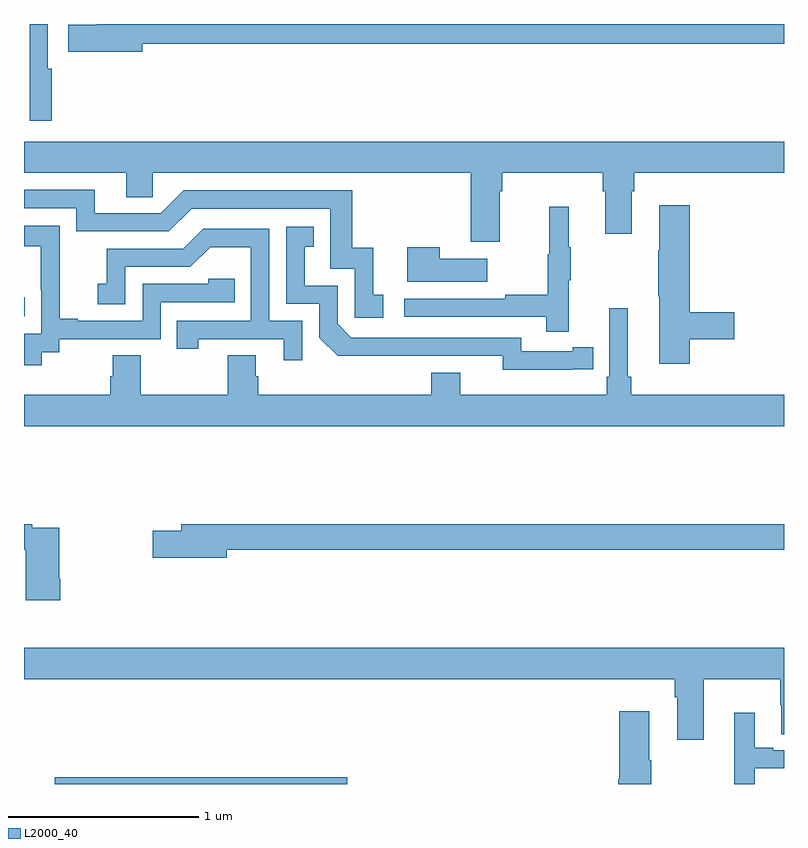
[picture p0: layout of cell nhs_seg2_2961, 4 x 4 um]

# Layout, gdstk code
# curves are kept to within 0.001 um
import gdstk
lib = gdstk.Library(unit=1e-6, precision=1e-09)
def R(c, l, rs):  # rectangles x0, y0, x1, y1
    for r in rs: c.add(gdstk.rectangle(r[:2], r[2:], *l))
def P(c, l, *ps):  # polygons
    for p in ps: c.add(gdstk.Polygon(p, *l))
L2000_40 = (2000, 40)

nhs_seg2_2961 = lib.new_cell('nhs_seg2_2961')
R(nhs_seg2_2961, L2000_40, [(267.161,597.8,268.702,597.836), (267,600.261,267.005,600.362)])
P(nhs_seg2_2961, L2000_40, [(267.146,601.565),(267.126,601.565),(267.126,601.8),(267.03,601.8),(267.03,601.29),(267.146,601.29)],
  [(267.622,601.696),(271,601.696),(271,601.8),(267.383,601.8),(267.383,601.796),(267.234,601.796),(267.234,601.654),(267.622,601.654)],
  [(269.503,600.92),(269.516,600.92),(269.516,601.016),(270.047,601.016),(270.047,600.92),(270.059,600.92),(270.059,600.696),(270.199,600.696),(270.199,600.92),(270.212,600.92),(270.212,601.016),(271,601.016),(271,601.18),(267,601.18),(267,601.016),(267.539,601.016),(267.539,600.889),(267.678,600.889),(267.678,601.016),(269.351,601.016),(269.351,600.654),(269.503,600.654)],
  [(268.891,600.375),(268.838,600.375),(268.838,600.622),(268.727,600.622),(268.727,600.924),(267.84,600.924),(267.72,600.804),(267.373,600.804),(267.373,600.927),(267,600.927),(267,600.831),(267.276,600.831),(267.276,600.708),(267.762,600.708),(267.882,600.828),(268.611,600.828),(268.611,600.513),(268.74,600.513),(268.74,600.255),(268.891,600.255)],
  [(270.503,600.142),(270.739,600.142),(270.739,600.284),(270.503,600.284),(270.503,600.847),(270.344,600.847),(270.344,600.608),(270.337,600.608),(270.337,600.367),(270.344,600.367),(270.344,600.012),(270.503,600.012)],
  [(269.867,600.451),(269.878,600.451),(269.878,600.625),(269.867,600.625),(269.867,600.838),(269.764,600.838),(269.764,600.588),(269.757,600.588),(269.757,600.374),(269.533,600.374),(269.533,600.354),(269.001,600.354),(269.001,600.258),(269.749,600.258),(269.749,600.18),(269.867,600.18)],
  [(267.094,600.073),(267.186,600.073),(267.186,600.141),(267.72,600.141),(267.72,600.336),(268.109,600.336),(268.109,600.459),(267.969,600.459),(267.969,600.432),(267.624,600.432),(267.624,600.237),(267.283,600.237),(267.283,600.25),(267.188,600.25),(267.188,600.533),(267.189,600.533),(267.189,600.739),(267,600.739),(267,600.629),(267.089,600.629),(267.089,600.401),(267.09,600.401),(267.09,600.171),(267,600.171),(267,600.003),(267.094,600.003)],
  [(269.888,599.982),(269.996,599.982),(269.996,600.098),(269.888,600.098),(269.888,600.078),(269.616,600.078),(269.616,600.15),(268.722,600.15),(268.65,600.222),(268.65,600.423),(268.477,600.423),(268.477,600.627),(268.526,600.627),(268.526,600.733),(268.38,600.733),(268.38,600.327),(268.554,600.327),(268.554,600.15),(268.652,600.053),(269.52,600.054),(269.52,599.981)],
  [(268.464,600.237),(268.29,600.237),(268.29,600.723),(267.944,600.723),(267.839,600.618),(267.436,600.618),(267.436,600.433),(267.387,600.433),(267.387,600.324),(267.534,600.324),(267.534,600.522),(267.876,600.522),(267.98,600.626),(268.194,600.626),(268.194,600.237),(267.805,600.237),(267.805,600.09),(267.916,600.09),(267.916,600.141),(268.367,600.141),(268.367,600.03),(268.464,600.03)],
  [(269.437,600.565),(269.189,600.565),(269.189,600.625),(269.018,600.625),(269.018,600.443),(269.437,600.443)],
  [(271,599.848),(270.197,599.848),(270.197,599.944),(270.178,599.944),(270.178,600.304),(270.081,600.304),(270.081,599.944),(270.068,599.944),(270.068,599.848),(269.296,599.848),(269.296,599.965),(269.144,599.965),(269.144,599.848),(268.232,599.848),(268.232,599.946),(268.219,599.946),(268.219,600.056),(268.072,600.056),(268.072,599.848),(267.615,599.848),(267.615,600.056),(267.467,600.056),(267.467,599.946),(267.455,599.946),(267.455,599.848),(267,599.848),(267,599.684),(271,599.684)],
  [(267.191,598.879),(267.186,598.879),(267.186,599.148),(267.044,599.148),(267.044,599.168),(267,599.168),(267,599.032),(267.008,599.032),(267.008,598.767),(267.191,598.767)],
  [(268.066,599.032),(271,599.032),(271,599.168),(267.827,599.168),(267.827,599.132),(267.678,599.132),(267.678,598.99),(268.066,598.99)],
  [(270.577,598.352),(270.979,598.352),(270.979,598.214),(270.986,598.214),(270.986,598.063),(271,598.063),(271,598.516),(267,598.516),(267,598.352),(270.425,598.352),(270.425,598.256),(270.437,598.256),(270.437,598.032),(270.577,598.032)],
  [(270.3,597.925),(270.292,597.925),(270.292,598.183),(270.134,598.183),(270.134,597.825),(270.128,597.825),(270.128,597.8),(270.3,597.8)],
  [(270.847,597.882),(271,597.882),(271,597.978),(270.943,597.978),(270.943,597.991),(270.847,597.991),(270.847,598.174),(270.737,598.174),(270.737,597.929),(270.738,597.929),(270.738,597.8),(270.847,597.8)])

lib.write_gds('nhs_seg2_2961.gds')
